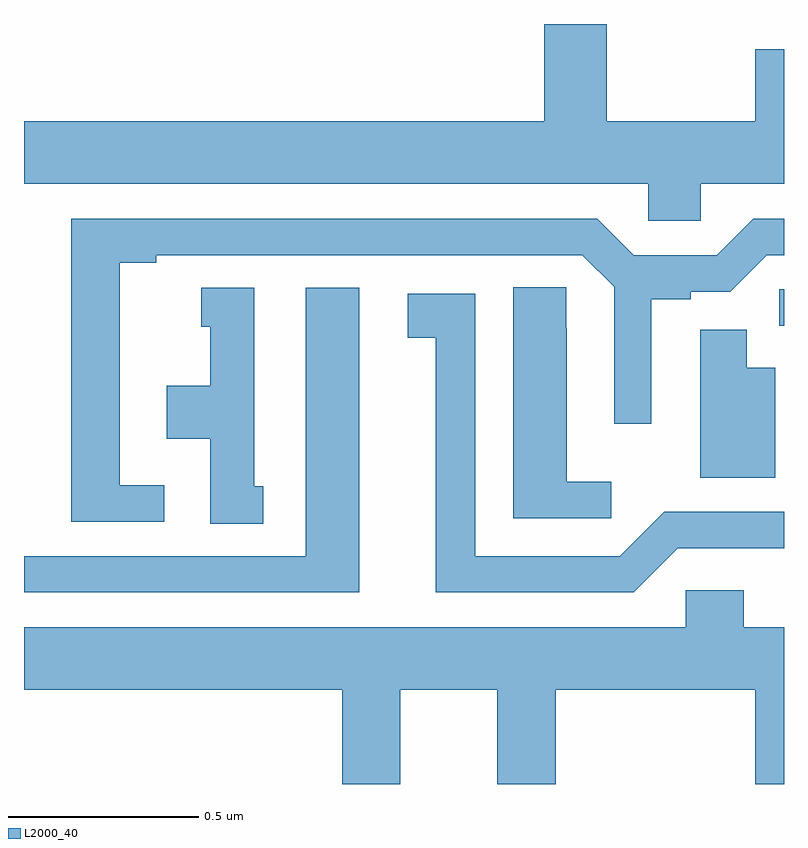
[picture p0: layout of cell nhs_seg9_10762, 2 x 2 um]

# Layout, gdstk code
import gdstk
lib = gdstk.Library(unit=1e-6, precision=1e-09)
def R(c, l, rs):  # rectangles x0, y0, x1, y1
    for r in rs: c.add(gdstk.rectangle(r[:2], r[2:], *l))
def P(c, l, *ps):  # polygons
    for p in ps: c.add(gdstk.Polygon(p, *l))
L2000_40 = (2000, 40)

nhs_seg9_10762 = lib.new_cell('nhs_seg9_10762')
R(nhs_seg9_10762, L2000_40, [(248.988,1202.706,249,1202.802)])
P(nhs_seg9_10762, L2000_40, [(248.781,1203.08),(249,1203.08),(249,1203.433),(248.924,1203.433),(248.924,1203.244),(248.533,1203.244),(248.533,1203.5),(248.369,1203.5),(248.369,1203.244),(247,1203.244),(247,1203.08),(248.643,1203.08),(248.643,1202.982),(248.781,1202.982)],
  [(247.369,1202.286),(247.252,1202.286),(247.252,1202.872),(247.348,1202.872),(247.348,1202.892),(248.469,1202.892),(248.553,1202.808),(248.553,1202.448),(248.65,1202.448),(248.65,1202.776),(248.754,1202.776),(248.754,1202.796),(248.859,1202.796),(248.955,1202.892),(249,1202.892),(249,1202.988),(248.919,1202.988),(248.823,1202.892),(248.605,1202.892),(248.509,1202.988),(247.124,1202.988),(247.124,1202.19),(247.369,1202.19)],
  [(248.545,1202.296),(248.428,1202.296),(248.428,1202.699),(248.427,1202.699),(248.427,1202.807),(248.288,1202.807),(248.288,1202.199),(248.545,1202.199)],
  [(247.63,1202.283),(247.606,1202.283),(247.606,1202.806),(247.466,1202.806),(247.466,1202.703),(247.49,1202.703),(247.49,1202.548),(247.376,1202.548),(247.376,1202.408),(247.49,1202.408),(247.49,1202.185),(247.63,1202.185)],
  [(247.882,1202.806),(247.742,1202.806),(247.742,1202.1),(247,1202.1),(247,1202.004),(247.882,1202.004)],
  [(248.721,1202.121),(248.977,1202.121),(248.977,1202.12),(249,1202.12),(249,1202.217),(248.685,1202.217),(248.568,1202.1),(248.188,1202.1),(248.188,1202.79),(248.01,1202.79),(248.01,1202.674),(248.084,1202.674),(248.084,1202.004),(248.604,1202.004)],
  [(248.977,1202.596),(248.902,1202.596),(248.902,1202.695),(248.78,1202.695),(248.78,1202.306),(248.977,1202.306)],
  [(247.99,1201.748),(248.246,1201.748),(248.246,1201.5),(248.399,1201.5),(248.399,1201.748),(248.924,1201.748),(248.924,1201.5),(249,1201.5),(249,1201.912),(248.894,1201.912),(248.894,1202.01),(248.742,1202.01),(248.742,1201.912),(247,1201.912),(247,1201.748),(247.838,1201.748),(247.838,1201.5),(247.99,1201.5)])

lib.write_gds('nhs_seg9_10762.gds')
